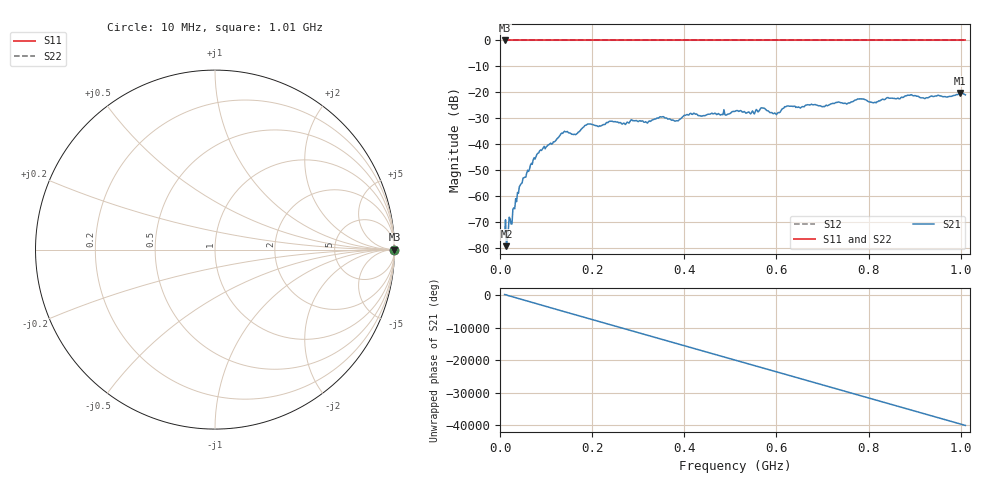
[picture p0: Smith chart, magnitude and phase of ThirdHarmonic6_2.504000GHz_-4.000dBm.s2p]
! 8/17/2025 4:49:14 AM
! C:\ANRITSUVNA\TEMP\TEMP.S2P
! CHANNEL.1
! TR.MEASUREMENT
! RAW.DATA
! RF.CORRECTION.OFF
! AVERAGING.OFF
! IF.BANDWIDTH: 5KHZ
! SWEEPTYPE:  FREQ.SWEEP(Linear)
! Reference Plane Port Info
! PORT:  PORT1  PORT2
! DISTANCE:  0  m  0  m
! TIME:  0  s  0  s
! PHASE.OFFSET:  0  deg.  0  deg.
! LOSS:  0  dB  0  dB
! REF.LOSS:  0  dB  0  dB
! REF.FREQ:  0  Hz  0  Hz
! Power Info
! POWER:  -20  dBm  -20  dBm
! EFF.POWER:  -20  dBm  -20  dBm
! SOURCE.ATTEN:  0  dB  0  dB
! TEST.ATTEN:  0  dB  0  dB
# GHZ S RI R 50.0
! FREQ.GHZ  S11RE  S11IM  S21RE  S21IM  S12RE  S12IM  S22RE  S22IM
!; PortSelection: Port_12
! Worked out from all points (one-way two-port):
!   501 points, 10 MHz to 1.01 GHz, reference 50 ohm
!   highest |S21| = -20.22 dB at 998 MHz (marker M1); lowest = -79.1 dB at 14 MHz (marker M2)
!   lowest |S11| = 0.0 dB at 10 MHz (marker M3)
!   |S11| at or under -10 dB: nowhere
!   |S22| runs from 0.0 to 0.0 dB; largest |S21 - S12| = 1.1
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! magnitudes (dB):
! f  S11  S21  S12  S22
! 10 MHz  0.0  -74.7  0.0  0.0
! 14 MHz  0.0  -79.1  0.0  0.0
! 46 MHz  0.0  -55.1  0.0  0.0
! 84 MHz  0.0  -43.3  0.0  0.0
! 136 MHz  0.0  -35.7  0.0  0.0
! 162 MHz  0.0  -36.1  0.0  0.0
! 178 MHz  0.0  -33.8  0.0  0.0
! 192 MHz  0.0  -32.1  0.0  0.0
! 318 MHz  0.0  -31.6  0.0  0.0
! 344 MHz  0.0  -29.9  0.0  0.0
! 384 MHz  0.0  -30.9  0.0  0.0
! 416 MHz  0.0  -28.4  0.0  0.0
! 510 MHz  0.0  -27.3  0.0  0.0
! 548 MHz  0.0  -27.1  0.0  0.0
! 570 MHz  0.0  -26.0  0.0  0.0
! 598 MHz  0.0  -28.1  0.0  0.0
! 622 MHz  0.0  -25.3  0.0  0.0
! 678 MHz  0.0  -24.7  0.0  0.0
! 812 MHz  0.0  -23.9  0.0  0.0
! 844 MHz  0.0  -22.2  0.0  0.0
! 998 MHz  0.0  -20.2  0.0  0.0
! 1.01 GHz  0.0  -20.9  0.0  0.0
